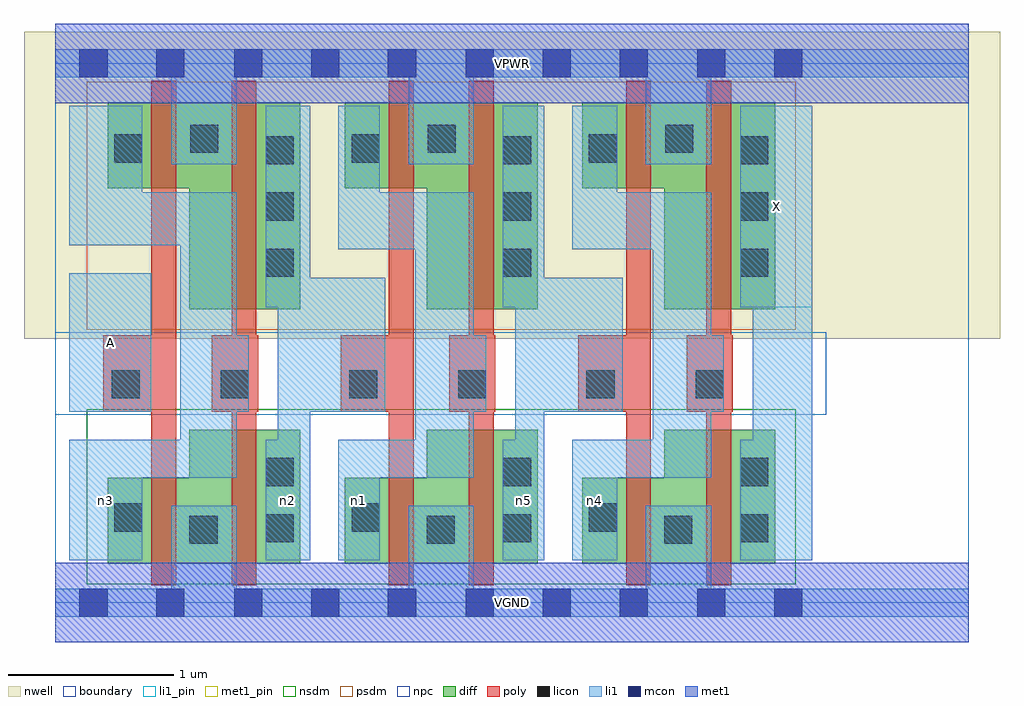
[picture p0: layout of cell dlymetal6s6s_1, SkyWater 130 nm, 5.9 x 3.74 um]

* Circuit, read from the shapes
.subckt dlymetal6s6s_1 A VGND VPWR X n1 n2 n3 n4 n5
XM1 VGND A n3 VSUBS sky130_fd_pr__nfet_01v8 w=0.52 l=0.15
XM2 n2 n3 VGND VSUBS sky130_fd_pr__nfet_01v8 w=0.81 l=0.15
XM3 VGND n2 n1 VSUBS sky130_fd_pr__nfet_01v8 w=0.52 l=0.15
XM4 n5 n1 VGND VSUBS sky130_fd_pr__nfet_01v8 w=0.81 l=0.15
XM5 VGND n5 n4 VSUBS sky130_fd_pr__nfet_01v8 w=0.52 l=0.15
XM6 X n4 VGND VSUBS sky130_fd_pr__nfet_01v8 w=0.81 l=0.15
XM7 VPWR A n3 n6 sky130_fd_pr__pfet_01v8 w=0.52 l=0.15
XM8 n2 n3 VPWR n6 sky130_fd_pr__pfet_01v8 w=1.25 l=0.15
XM9 VPWR n2 n1 n6 sky130_fd_pr__pfet_01v8 w=0.52 l=0.15
XM10 n5 n1 VPWR n6 sky130_fd_pr__pfet_01v8 w=1.25 l=0.15
XM11 VPWR n5 n4 n6 sky130_fd_pr__pfet_01v8 w=0.52 l=0.15
XM12 X n4 VPWR n6 sky130_fd_pr__pfet_01v8 w=1.25 l=0.15
.ends

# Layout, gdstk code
import gdstk
lib = gdstk.Library(unit=1e-6, precision=1e-09)
def R(c, l, rs):  # rectangles x0, y0, x1, y1
    for r in rs: c.add(gdstk.rectangle(r[:2], r[2:], *l))
def A(c, l, x, y, w, h, nx, ny, dx, dy):  # array of equal rectangles
    R(c, l, [(x+i*dx, y+j*dy, x+i*dx+w, y+j*dy+h) for i in range(nx) for j in range(ny)])
nwell = (64, 20)
diff = (65, 20)
poly = (66, 20)
licon = (66, 44)
li1_pin = (67, 16)
li1 = (67, 20)
mcon = (67, 44)
met1_pin = (68, 16)
met1 = (68, 20)
nsdm = (93, 44)
psdm = (94, 20)
npc = (95, 20)
boundary = (235, 4)

dlymetal6s6s_1 = lib.new_cell('dlymetal6s6s_1')
R(dlymetal6s6s_1, nwell, [(-0.19,1.595,5.71,3.45), (0,1.595,5.52,3.45)])
A(dlymetal6s6s_1, diff, 0.315, 0.235, 1.165, 0.52, 3, 2, 1.435, 2.27)
A(dlymetal6s6s_1, diff, 0.81, 0.235, 0.67, 0.81, 3, 1, 1.435, 0)
A(dlymetal6s6s_1, diff, 0.81, 1.775, 0.67, 1.25, 3, 1, 1.435, 0)
A(dlymetal6s6s_1, poly, 0.29, 1.155, 0.44, 0.46, 3, 1, 1.435, 0)
A(dlymetal6s6s_1, poly, 0.945, 1.155, 0.28, 0.46, 3, 1, 1.435, 0)
R(dlymetal6s6s_1, poly, [(0.58,0.105,0.73,3.155), (1.065,0.105,1.215,3.155), (2.015,0.105,2.165,3.155), (2.5,0.105,2.65,3.155), (3.45,0.105,3.6,3.155), (3.935,0.105,4.085,3.155)])
A(dlymetal6s6s_1, licon, 0.81, 0.355, 0.17, 0.17, 3, 1, 1.435, 0)
A(dlymetal6s6s_1, licon, 1.27, 0.365, 0.17, 0.17, 3, 2, 1.435, 0.34)
A(dlymetal6s6s_1, licon, 0.355, 0.43, 0.17, 0.17, 3, 2, 1.435, 2.23)
A(dlymetal6s6s_1, licon, 1.27, 1.97, 0.17, 0.17, 3, 3, 1.435, 0.34)
A(dlymetal6s6s_1, licon, 0.815, 2.72, 0.17, 0.17, 3, 1, 1.435, 0)
R(dlymetal6s6s_1, licon, [(0.34,1.235,0.51,1.405), (1,1.235,1.17,1.405), (1.775,1.235,1.945,1.405), (2.435,1.235,2.605,1.405), (3.21,1.235,3.38,1.405), (3.87,1.235,4.04,1.405)])
R(dlymetal6s6s_1, li1_pin, [(0.085,1.155,0.58,1.99), (4.14,1.785,4.575,3.005)])
A(dlymetal6s6s_1, li1, 0.7, -0.085, 0.395, 0.67, 3, 1, 1.435, 0)
A(dlymetal6s6s_1, li1, 0.7, 2.65, 0.395, 0.695, 3, 1, 1.435, 0)
R(dlymetal6s6s_1, li1, [(0,-0.085,5.52,0.085), (0.085,0.255,0.525,0.985), (1.27,0.255,1.54,0.985), (1.345,0.255,1.54,3.005), (1.71,0.255,1.96,0.985), (2.705,0.255,2.955,0.985), (2.78,0.255,2.955,3.005), (3.125,0.255,3.395,0.985), (4.14,0.255,4.575,0.985), (4.215,0.255,4.575,3.005), (0.085,0.755,1.095,0.985), (0.755,0.755,1.095,2.48), (1.71,0.755,2.53,0.985), (2.175,0.755,2.53,2.48), (3.125,0.755,3.965,0.985), (3.61,0.755,3.965,2.48), (0.085,1.155,0.58,1.99), (0.755,1.155,1.17,1.615), (1.345,1.155,1.995,1.965), (2.175,1.155,2.605,1.615), (2.78,1.155,3.43,1.965), (3.61,1.155,4.04,1.615), (1.27,1.785,1.54,3.005), (2.705,1.785,2.955,3.005), (4.14,1.785,4.575,3.005), (1.71,2.135,1.96,3.005), (1.71,2.135,2.53,2.48), (3.125,2.135,3.395,3.005), (3.125,2.135,3.965,2.48), (0.085,2.16,0.525,3.005), (0.085,2.16,1.095,2.48), (0,3.175,5.52,3.345)])
A(dlymetal6s6s_1, mcon, 1.08, -0.085, 0.17, 0.17, 3, 2, 0.465, 3.26)
A(dlymetal6s6s_1, mcon, 2.48, -0.085, 0.17, 0.17, 3, 2, 0.465, 3.26)
R(dlymetal6s6s_1, mcon, [(0.145,-0.085,0.315,0.085), (0.61,-0.085,0.78,0.085), (3.88,-0.085,4.05,0.085), (4.345,-0.085,4.515,0.085), (0.145,3.175,0.315,3.345), (0.61,3.175,0.78,3.345), (3.88,3.175,4.05,3.345), (4.345,3.175,4.515,3.345)])
R(dlymetal6s6s_1, met1_pin, [(0,-0.24,5.52,0.24), (0,3.02,5.52,3.5)])
R(dlymetal6s6s_1, met1, [(0,-0.24,5.52,0.24), (0,3.02,5.52,3.5)])
R(dlymetal6s6s_1, nsdm, [(0.19,0.11,4.475,1.17)])
R(dlymetal6s6s_1, psdm, [(0.19,1.65,4.475,3.15)])
R(dlymetal6s6s_1, npc, [(0,1.135,4.66,1.635)])
R(dlymetal6s6s_1, boundary, [(0,0,5.52,3.26)])
dlymetal6s6s_1.add(gdstk.Label('A', (0.332,1.572), layer=67, texttype=5))
dlymetal6s6s_1.add(gdstk.Label('X', (4.357,2.395), layer=67, texttype=5))
dlymetal6s6s_1.add(gdstk.Label('n3', (0.305,0.62), layer=67, texttype=5))
dlymetal6s6s_1.add(gdstk.Label('n2', (1.405,0.62), layer=67, texttype=5))
dlymetal6s6s_1.add(gdstk.Label('n1', (1.835,0.62), layer=67, texttype=5))
dlymetal6s6s_1.add(gdstk.Label('n5', (2.83,0.62), layer=67, texttype=5))
dlymetal6s6s_1.add(gdstk.Label('n4', (3.26,0.62), layer=67, texttype=5))
dlymetal6s6s_1.add(gdstk.Label('VPWR', (2.76,3.26), layer=68, texttype=5))
dlymetal6s6s_1.add(gdstk.Label('VGND', (2.76,0), layer=68, texttype=5))
dlymetal6s6s_1.add(gdstk.Label('A', (0.332,1.572), layer=67, texttype=16))
dlymetal6s6s_1.add(gdstk.Label('X', (4.357,2.395), layer=67, texttype=16))
dlymetal6s6s_1.add(gdstk.Label('VPWR', (2.76,3.26), layer=68, texttype=16))
dlymetal6s6s_1.add(gdstk.Label('VGND', (2.76,0), layer=68, texttype=16))

lib.write_gds('dlymetal6s6s_1.gds')
